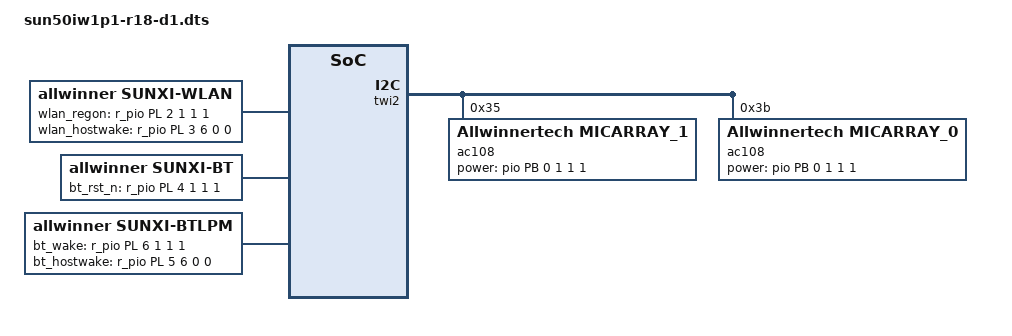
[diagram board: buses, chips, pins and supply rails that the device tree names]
/*
 * Allwinner Technology CO., Ltd. sun50iw1p1 fpga board.
 *
 * fpga board support.
 */

/dts-v1/;

#include "sun50iw1p1.dtsi"

/{
	soc@01c00000 {
		twi2: twi@0x01c2b400 {
			status = "okay";
			ac108@35{
				compatible = "Allwinnertech,MicArray_1";
				gpio-power = <&pio PB 0 1 1 1 1>;
				twi_bus = <2>;
				debug_mode = <0>;
				pga_gain = <0x32>;
				ref_pga_gain = <0x08>;
				regulator_used = <0>;
				voltage_enable = "nocare";
				reg = <0x35>;
			};
			ac108@3b{
				compatible = "Allwinnertech,MicArray_0";
				reg = <0x3b>;
				debug_mode = <0>;
				pga_gain = <0x32>;
				ref_pga_gain = <0x08>;
				twi_bus = <2>;
				regulator_used = <0>;
				voltage_enable = "nocare";
				gpio-power = <&pio PB 0 1 1 1 1>;
			};
		};
		snddaudio0:sound@1 {
			sunxi,snddaudio-codec = "ac108.2-0035";
			sunxi,snddaudio-codec-dai = "ac108-pcm1";
		};
	};
	wlan:wlan {
		compatible = "allwinner,sunxi-wlan";
		wlan_power = "vcc-wifi";
		wlan_io_regulator = "vcc-wifi-io";
		wlan_busnum = <1>;
		wlan_regon = <&r_pio PL 2 1 1 1 0>;
		wlan_hostwake = <&r_pio PL 3 6 0 0 0>;
		status = "okay";
	};

	bt:bt {
		compatible = "allwinner,sunxi-bt";
		bt_power = "vcc-wifi";
		bt_io_regulator = "vcc-wifi-io";
		bt_rst_n = <&r_pio PL 4 1 1 1 0>;
		status = "okay";
	};

	btlpm:btlpm {
		compatible = "allwinner,sunxi-btlpm";
		uart_index = <1>;
		bt_wake = <&r_pio PL 6 1 1 1 1>;
		bt_hostwake = <&r_pio PL 5 6 0 0 0>;
		status = "okay";
	};
};
